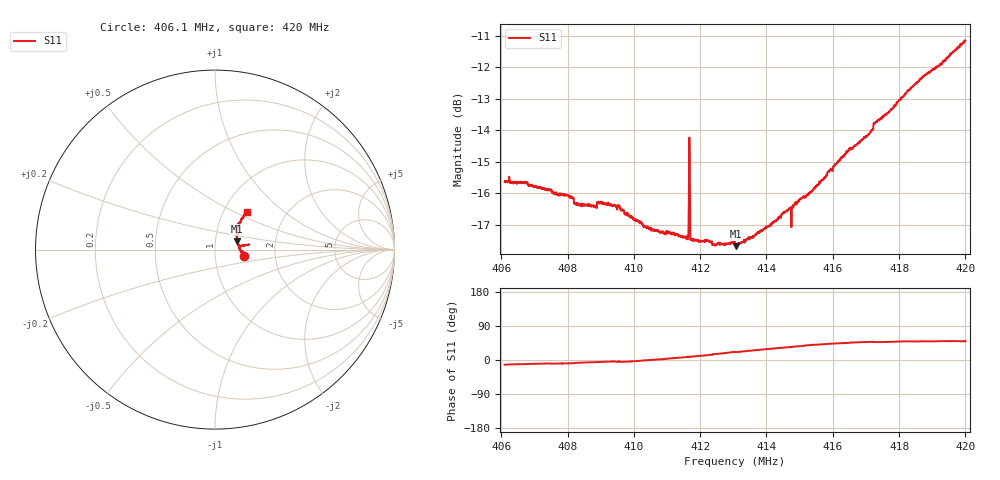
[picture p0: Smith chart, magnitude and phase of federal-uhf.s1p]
! Calibrated averaged scanner-service zoom
# Hz S RI R 50
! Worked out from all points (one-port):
!   2001 points, 406.1 MHz to 420 MHz, reference 50 ohm
!   lowest |S11| = -17.7 dB at 413.07 MHz (marker M1), VSWR 1.30, Z = 63.6 + j5.99 ohm
!   |S11| at or under -10 dB: start of sweep to end of sweep
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4.061e8  0.1612 -0.0354
4.067186e8  0.1614 -0.0309
4.078375e8  0.1558 -0.0253
4.081155e8  0.1547 -0.0235
4.083448e8  0.1506 -0.0194
4.088105e8  0.15 -0.0152
4.089773e8  0.1523 -0.0138
4.09575e8  0.1506 -0.00945
4.103395e8  0.1401 -0.00169
4.113125e8  0.1355 0.0132
4.115766e8  0.1331 0.0178
4.116183e8  0.134 0.019
4.116322e8  0.1331 0.0197
4.117226e8  0.1326 0.0204
4.117364e8  0.1324 0.0205
4.117642e8  0.1322 0.0208
4.117782e8  0.1314 0.0215
4.124314e8  0.1261 0.0353
4.1305e8  0.1232 0.0487
4.130708e8  0.122 0.0463
4.13606e8  0.1225 0.0581
4.147875e8  0.1241 0.0865
4.15406e8  0.1231 0.1023
4.16525e8  0.1315 0.1332
4.17074e8  0.1331 0.1448
4.172964e8  0.1397 0.1511
4.182625e8  0.1511 0.1736
4.2e8  0.1796 0.2104
